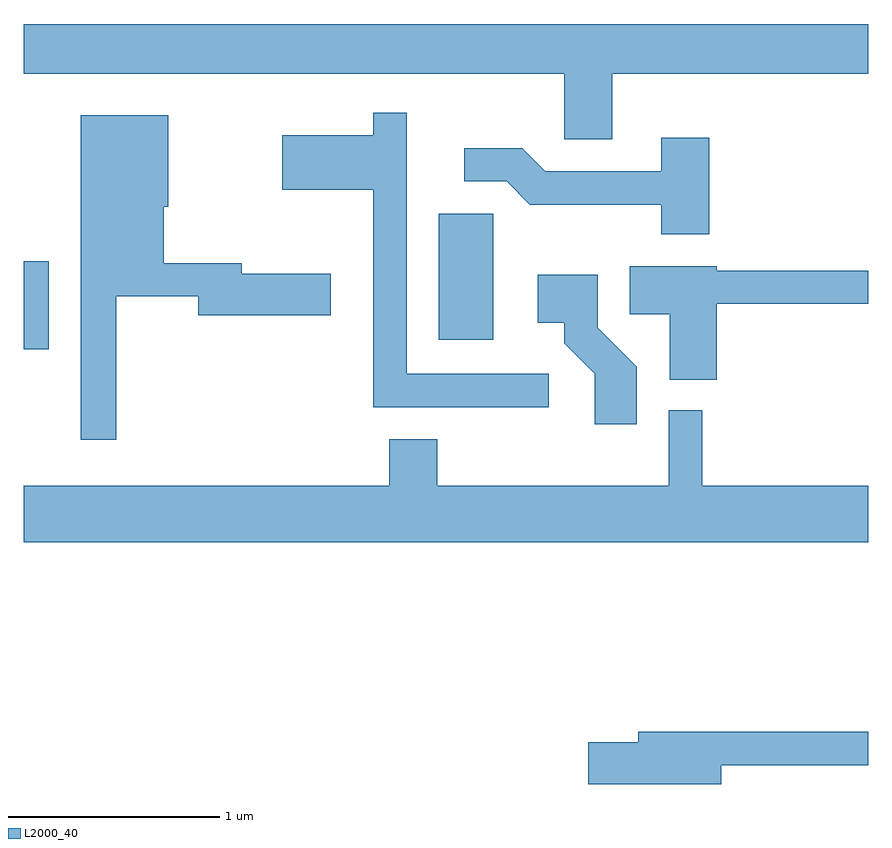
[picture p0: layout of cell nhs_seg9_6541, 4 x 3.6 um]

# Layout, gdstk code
import gdstk
lib = gdstk.Library(unit=1e-6, precision=1e-09)
def R(c, l, rs):  # rectangles x0, y0, x1, y1
    for r in rs: c.add(gdstk.rectangle(r[:2], r[2:], *l))
def P(c, l, *ps):  # polygons
    for p in ps: c.add(gdstk.Polygon(p, *l))
L2000_40 = (2000, 40)

nhs_seg9_6541 = lib.new_cell('nhs_seg9_6541')
R(nhs_seg9_6541, L2000_40, [(377.611,2054.891,377.729,2055.309), (379.576,2054.936,379.834,2055.534)])
P(nhs_seg9_6541, L2000_40, [(380.399,2056.196),(381.611,2056.196),(381.611,2056.432),(377.611,2056.432),(377.611,2056.196),(380.171,2056.196),(380.171,2055.886),(380.399,2055.886)],
  [(380.098,2054.774),(379.424,2054.774),(379.424,2056.012),(379.266,2056.012),(379.266,2055.904),(378.836,2055.904),(378.836,2055.646),(379.266,2055.646),(379.266,2054.616),(380.098,2054.616)],
  [(378.049,2055.141),(378.436,2055.141),(378.436,2055.051),(379.064,2055.051),(379.064,2055.249),(378.644,2055.249),(378.644,2055.299),(378.274,2055.299),(378.274,2055.566),(378.294,2055.566),(378.294,2055.999),(377.881,2055.999),(377.881,2054.463),(378.049,2054.463)],
  [(380.859,2055.894),(380.631,2055.894),(380.631,2055.734),(380.082,2055.734),(379.972,2055.844),(379.698,2055.844),(379.698,2055.686),(379.899,2055.686),(380.009,2055.576),(380.631,2055.576),(380.631,2055.436),(380.859,2055.436)],
  [(380.894,2055.106),(381.611,2055.106),(381.611,2055.264),(380.894,2055.264),(380.894,2055.284),(380.481,2055.284),(380.481,2055.056),(380.671,2055.056),(380.671,2054.746),(380.894,2054.746)],
  [(380.514,2054.807),(380.329,2054.992),(380.329,2055.244),(380.046,2055.244),(380.046,2055.016),(380.171,2055.016),(380.171,2054.919),(380.316,2054.774),(380.316,2054.536),(380.514,2054.536)],
  [(381.611,2054.244),(380.824,2054.244),(380.824,2054.603),(380.666,2054.603),(380.666,2054.244),(379.569,2054.244),(379.569,2054.464),(379.341,2054.464),(379.341,2054.244),(377.611,2054.244),(377.611,2053.976),(381.611,2053.976)],
  [(380.914,2052.921),(381.611,2052.921),(381.611,2053.079),(380.521,2053.079),(380.521,2053.029),(380.286,2053.029),(380.286,2052.831),(380.914,2052.831)])

lib.write_gds('nhs_seg9_6541.gds')
